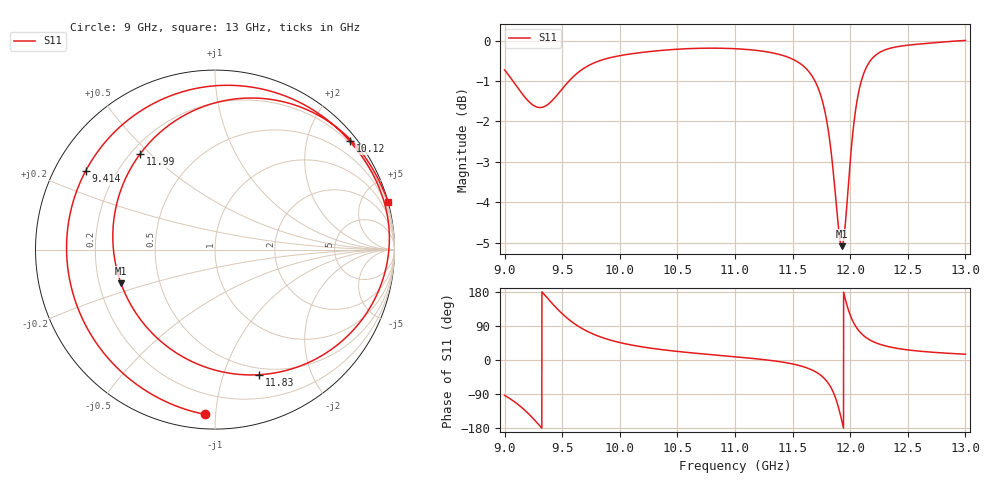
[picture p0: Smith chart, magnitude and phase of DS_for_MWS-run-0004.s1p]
! TOUCHSTONE file generated by CST DESIGN STUDIO
! Date and time: Wed Feb  5 13:40:29 2025
! Project name: C:\Work\MatlabApps\UnitCellOptimizationMatlab\CST\unitcell.cst
! Tree item: Tasks\Sweep1\SPara1\S-Parameters
! Header version: 2024
! Port assignment regex: !\s*Touchstone port\s*([0-9]+)\s*=\s*(CST MWS port|CST DES external port|CST DES block port)\s*(.+)\s* \(\"(.*)\"\)(\s*mode\s*([0-9]+))?.*
! Touchstone port assignment:
! Touchstone port 1 = CST DES external port 1 ("")
# GHz S MA R 50
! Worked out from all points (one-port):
!   4001 points, 9 GHz to 13 GHz, reference 50 ohm
!   lowest |S11| = -5.1 dB at 11.93 GHz (marker M1), VSWR 3.51, Z = 14.6 - j7.97 ohm
!   |S11| at or under -10 dB: nowhere
!   S11 on the Smith chart (normalised r, x): 9 GHz: 0.08, -0.94; 9.414 GHz: 0.09, +0.28; 10.12 GHz: 0.17, +2.84; 11.83 GHz: 0.43, -1.32; 11.99 GHz: 0.24, +0.47; 13 GHz: -0.03, +7.48
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9  0.9201 -93.3
9.136  0.8659 -122.1
9.262  0.8298 -159.0
9.338  0.8281 174.9
9.414  0.8434 148.8
9.5  0.8717 122.1
9.605  0.905 96.1
9.74  0.9336 72.4
10  0.9584 46.1
10.116  0.9642 38.7
10.5  0.9762 22.6
11  0.9776 8.5
11.5  0.9489 -10.4
11.709  0.8825 -32.8
11.774  0.8251 -48.3
11.829  0.7395 -70.5
11.88  0.6242 -106.5
11.927  0.5565 -160.3
11.956  0.5892 162.7
11.989  0.6772 128.0
12  0.7088 118.6
12.029  0.7836 98.7
12.063  0.8485 81.9
12.115  0.9089 64.7
12.175  0.9447 52.2
12.301  0.9742 37.6
12.5  0.9874 26.6
13  1.001 15.2
